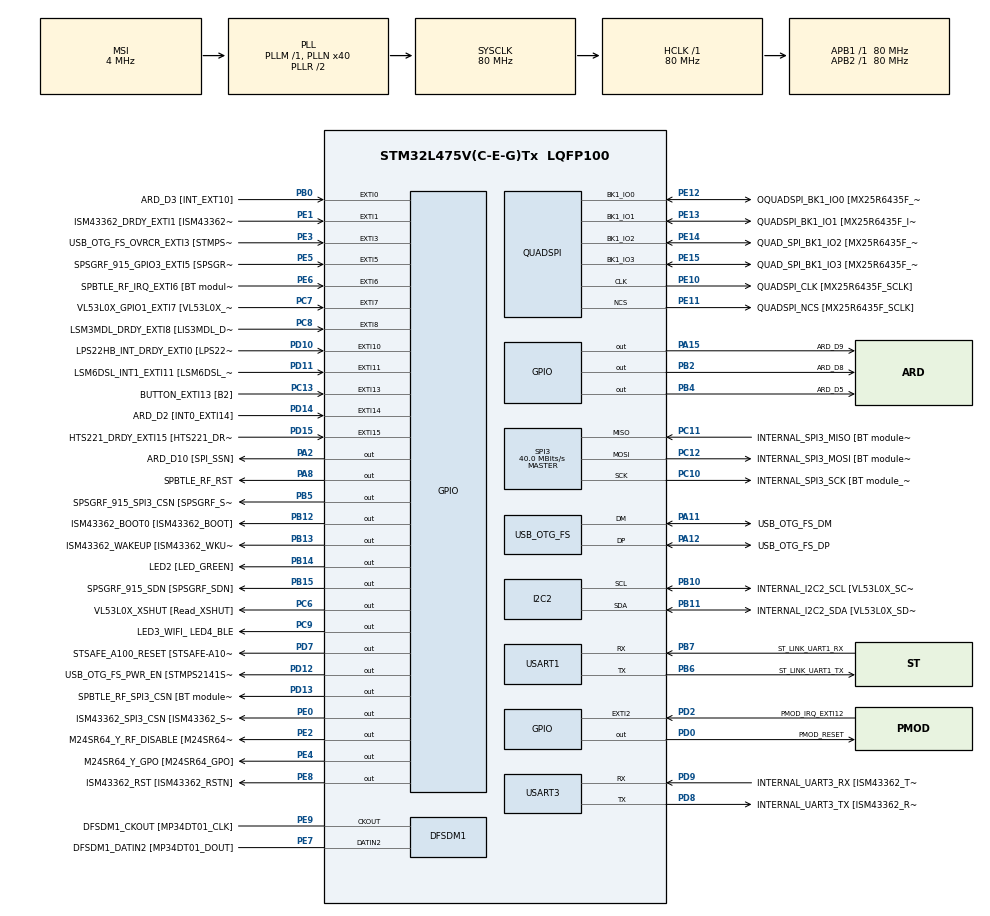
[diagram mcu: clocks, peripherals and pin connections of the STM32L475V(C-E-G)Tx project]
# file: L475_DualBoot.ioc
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Mcu.Family=STM32L4
Mcu.Name=STM32L475V(C-E-G)Tx
Mcu.Package=LQFP100
NVIC.EXTI15_10_IRQn=true\:0\:0\:false\:false\:true\:true
NVIC.EXTI9_5_IRQn=true\:0\:0\:false\:false\:true\:true
NVIC.PriorityGroup=NVIC_PRIORITYGROUP_4
PA0.GPIO_Label=ARD_D1 [UART4_TX]
PA0.Signal=UART4_TX
PA1.GPIO_Label=ARD_D0 [UART4_RX]
PA1.Signal=UART4_RX
PA10.GPIO_Label=USB_OTG_FS_ID
PA10.Signal=USB_OTG_FS_ID
PA11.GPIO_Label=USB_OTG_FS_DM
PA11.Mode=Device_Only
PA11.Signal=USB_OTG_FS_DM
PA12.GPIO_Label=USB_OTG_FS_DP
PA12.Mode=Device_Only
PA12.Signal=USB_OTG_FS_DP
PA13\ (JTMS-SWDIO).GPIO_Label=SYS_JTMS_SWDIO
PA13\ (JTMS-SWDIO).Mode=Serial_Wire
PA13\ (JTMS-SWDIO).Signal=SYS_JTMS-SWDIO
PA14\ (JTCK-SWCLK).GPIO_Label=SYS_JTCK_SWCLK
PA14\ (JTCK-SWCLK).Mode=Serial_Wire
PA14\ (JTCK-SWCLK).Signal=SYS_JTCK-SWCLK
PA15\ (JTDI).GPIO_Label=ARD_D9
PA15\ (JTDI).Signal=GPIO_Output
PA2.GPIO_Label=ARD_D10 [SPI_SSN]
PA2.Signal=GPIO_Output
PA3.GPIO_Label=ARD_D4
PA3.Signal=S_TIM2_CH4
PA4.GPIO_Label=ARD_D7
PA4.Signal=ADCx_IN9
PA5.GPIO_Label=ARD_D13 [SPI1_SCK]
PA5.Signal=SPI1_SCK
PA6.GPIO_Label=ARD_D12 [SPI1_MISO]
PA6.Signal=SPI1_MISO
PA7.GPIO_Label=ARD_D11 [SPI1_MOSI]
PA7.Signal=SPI1_MOSI
PA8.GPIO_Label=SPBTLE_RF_RST
PA8.Signal=GPIO_Output
PA9.GPIO_Label=USB_OTG_FS_VBUS [STMPS2141STR_OUT]
PA9.Signal=USB_OTG_FS_VBUS
PB0.GPIO_Label=ARD_D3 [INT_EXT10]
PB0.Signal=GPXTI0
PB1.GPIO_Label=ARD_D6 [ADC1_IN6]
PB1.Signal=ADCx_IN16
PB10.GPIO_Label=INTERNAL_I2C2_SCL [VL53L0X_SCL]
PB10.Mode=I2C
PB10.Signal=I2C2_SCL
PB11.GPIO_Label=INTERNAL_I2C2_SDA [VL53L0X_SDA]
PB11.Mode=I2C
PB11.Signal=I2C2_SDA
PB12.GPIO_Label=ISM43362_BOOT0 [ISM43362_BOOT]
PB12.Signal=GPIO_Output
PB13.GPIO_Label=ISM43362_WAKEUP [ISM43362_WKUP]
PB13.Signal=GPIO_Output
PB14.GPIO_Label=LED2 [LED_GREEN]
PB14.Signal=GPIO_Output
PB15.GPIO_Label=SPSGRF_915_SDN [SPSGRF_SDN]
PB15.Signal=GPIO_Output
PB2.GPIO_Label=ARD_D8
PB2.Signal=GPIO_Output
PB3\ (JTDO-TRACESWO).GPIO_Label=SYS_JTD0_SWO
PB3\ (JTDO-TRACESWO).Signal=SYS_JTDO-SWO
PB4\ (NJTRST).GPIO_Label=ARD_D5
PB4\ (NJTRST).Signal=GPIO_Output
PB5.GPIO_Label=SPSGRF_915_SPI3_CSN [SPSGRF_SPI_CS]
PB5.Signal=GPIO_Output
PB6.GPIO_Label=ST_LINK_UART1_TX
PB6.Mode=Asynchronous
PB6.Signal=USART1_TX
PB7.GPIO_Label=ST_LINK_UART1_RX
PB7.Mode=Asynchronous
PB7.Signal=USART1_RX
PB8.GPIO_Label=ARD_D15 [I2C1_SCL]
PB8.Signal=I2C1_SCL
PB9.GPIO_Label=ARD_D14 [I2C1_SDA]
PB9.Signal=I2C1_SDA
PC0.GPIO_Label=ARD_A5 [ADC]
PC0.Signal=ADCx_IN1
PC1.GPIO_Label=ARD_A4 [ADC]
PC1.Signal=ADCx_IN2
PC10.GPIO_Label=INTERNAL_SPI3_SCK [BT module_SPI_SCLK]
PC10.Mode=Full_Duplex_Master
PC10.Signal=SPI3_SCK
PC11.GPIO_Label=INTERNAL_SPI3_MISO [BT module_SPI_MISO]
PC11.Mode=Full_Duplex_Master
PC11.Signal=SPI3_MISO
PC12.GPIO_Label=INTERNAL_SPI3_MOSI [BT module_SPI_MOSI]
PC12.Mode=Full_Duplex_Master
PC12.Signal=SPI3_MOSI
PC13.GPIO_Label=BUTTON_EXTI13 [B2]
PC13.GPIO_ModeDefaultEXTI=GPIO_MODE_IT_FALLING
PC13.Signal=GPXTI13
PC14-OSC32_IN\ (PC14).Mode=LSE-External-Oscillator
PC14-OSC32_IN\ (PC14).Signal=RCC_OSC32_IN
PC15-OSC32_OUT\ (PC15).Mode=LSE-External-Oscillator
PC15-OSC32_OUT\ (PC15).Signal=RCC_OSC32_OUT
PC2.GPIO_Label=ARD_A3 [ADC]
PC2.Signal=ADCx_IN3
PC3.GPIO_Label=ARD_A2 [ADC]
PC3.Signal=ADCx_IN4
PC4.GPIO_Label=ARD_A1 [ADC]
PC4.Signal=ADCx_IN13
PC5.GPIO_Label=ARD_A0 [ADC]
PC5.Signal=ADCx_IN14
PC6.GPIO_Label=VL53L0X_XSHUT [Read_XSHUT]
PC6.Signal=GPIO_Output
PC7.GPIO_Label=VL53L0X_GPIO1_EXTI7 [VL53L0X_GPIO1]
PC7.Signal=GPXTI7
PC8.GPIO_Label=LSM3MDL_DRDY_EXTI8 [LIS3MDL_DRDY]
PC8.Signal=GPXTI8
PC9.GPIO_Label=LED3_WIFI_ LED4_BLE
PC9.Signal=GPIO_Output
PD0.GPIO_Label=PMOD_RESET
PD0.Signal=GPIO_Output
PD1.GPIO_Label=PMOD_SPI2_SCK
PD1.Signal=SPI2_SCK
PD10.GPIO_Label=LPS22HB_INT_DRDY_EXTI0 [LPS22HB_INT_DRDY] 
PD10.Signal=GPXTI10
PD11.GPIO_Label=LSM6DSL_INT1_EXTI11 [LSM6DSL_INT1]
PD11.Signal=GPXTI11
PD12.GPIO_Label=USB_OTG_FS_PWR_EN [STMPS2141STR_EN]
PD12.Signal=GPIO_Output
PD13.GPIO_Label=SPBTLE_RF_SPI3_CSN [BT module_SPI_CS]
PD13.Signal=GPIO_Output
PD14.GPIO_Label=ARD_D2 [INT0_EXTI14]
PD14.Signal=GPXTI14
PD15.GPIO_Label=HTS221_DRDY_EXTI15 [HTS221_DRDY]
PD15.Signal=GPXTI15
PD2.GPIO_Label=PMOD_IRQ_EXTI12
PD2.Signal=GPXTI2
PD3.GPIO_Label=PMOD_UART2_CTS
PD3.Signal=USART2_CTS
PD4.GPIO_Label=PMOD_UART2_RTS
PD4.Signal=USART2_RTS
PD5.GPIO_Label=PMOD_UART2_TX
PD5.Signal=USART2_TX
PD6.GPIO_Label=PMOD_UART2_RX
PD6.Signal=USART2_RX
PD7.GPIO_Label=STSAFE_A100_RESET [STSAFE-A100_RESET]
PD7.Signal=GPIO_Output
PD8.GPIO_Label=INTERNAL_UART3_TX [ISM43362_RX]
PD8.Mode=Asynchronous
PD8.Signal=USART3_TX
PD9.GPIO_Label=INTERNAL_UART3_RX [ISM43362_TX]
PD9.Mode=Asynchronous
PD9.Signal=USART3_RX
PE0.GPIO_Label=ISM43362_SPI3_CSN [ISM43362_SSN]
PE0.Signal=GPIO_Output
PE1.GPIO_Label=ISM43362_DRDY_EXTI1 [ISM43362_DATARDY]
PE1.Signal=GPXTI1
PE10.GPIO_Label=QUADSPI_CLK [MX25R6435F_SCLK]
PE10.Mode=Single Bank
PE10.Signal=QUADSPI_CLK
PE11.GPIO_Label=QUADSPI_NCS [MX25R6435F_SCLK]
PE11.Mode=Single Bank
PE11.Signal=QUADSPI_NCS
PE12.GPIO_Label=OQUADSPI_BK1_IO0 [MX25R6435F_IO0]
PE12.Mode=Single Bank
PE12.Signal=QUADSPI_BK1_IO0
PE13.GPIO_Label=QUADSPI_BK1_IO1 [MX25R6435F_IO1]
PE13.Mode=Single Bank
PE13.Signal=QUADSPI_BK1_IO1
PE14.GPIO_Label=QUAD_SPI_BK1_IO2 [MX25R6435F_IO2]
PE14.Mode=Single Bank
PE14.Signal=QUADSPI_BK1_IO2
PE15.GPIO_Label=QUAD_SPI_BK1_IO3 [MX25R6435F_IO3]
PE15.Mode=Single Bank
PE15.Signal=QUADSPI_BK1_IO3
PE2.GPIO_Label=M24SR64_Y_RF_DISABLE [M24SR64_RFDIS]
PE2.Signal=GPIO_Output
PE3.GPIO_Label=USB_OTG_FS_OVRCR_EXTI3 [STMPS2141STR_FAULT]
PE3.Signal=GPXTI3
PE4.GPIO_Label=M24SR64_Y_GPO [M24SR64_GPO]
PE4.Signal=GPIO_Output
PE5.GPIO_Label=SPSGRF_915_GPIO3_EXTI5 [SPSGRF_GPIO_3]
PE5.Signal=GPXTI5
PE6.GPIO_Label=SPBTLE_RF_IRQ_EXTI6 [BT module_SPI_IRQ]
PE6.Signal=GPXTI6
PE7.GPIO_Label=DFSDM1_DATIN2 [MP34DT01_DOUT]
PE7.Signal=S_DATAIN2DFSDM1
PE8.GPIO_Label=ISM43362_RST [ISM43362_RSTN]
PE8.Signal=GPIO_Output
PE9.GPIO_Label=DFSDM1_CKOUT [MP34DT01_CLK]
PE9.Signal=S_CKOUTDFSDM1
ProjectManager.HeapSize=0x200
ProjectManager.StackSize=0x400
ProjectManager.TargetToolchain=SW4STM32
RCC.ADCFreq_Value=48000000
RCC.AHBFreq_Value=80000000
RCC.APB1Freq_Value=80000000
RCC.APB1TimFreq_Value=80000000
RCC.APB2Freq_Value=80000000
RCC.APB2TimFreq_Value=80000000
RCC.CortexFreq_Value=80000000
RCC.HCLKFreq_Value=80000000
RCC.HSE_VALUE=8000000
RCC.HSI_VALUE=16000000
RCC.MSI_VALUE=4000000
RCC.PLLN=40
RCC.PLLSAI1N=24
RCC.SYSCLKFreq_VALUE=80000000
RCC.SYSCLKSource=RCC_SYSCLKSOURCE_PLLCLK
RCC.USBFreq_Value=48000000
RCC.VCOOutputFreq_Value=160000000
SH.ADCx_IN1.0=ADC1_IN1
SH.ADCx_IN13.0=ADC1_IN13
SH.ADCx_IN14.0=ADC1_IN14
SH.ADCx_IN16.0=ADC1_IN16
SH.ADCx_IN2.0=ADC1_IN2
SH.ADCx_IN3.0=ADC1_IN3
SH.ADCx_IN4.0=ADC1_IN4
SH.ADCx_IN9.0=ADC1_IN9
SH.S_CKOUTDFSDM1.0=DFSDM1_CKOUT,CKOUT
SH.S_CKOUTDFSDM1.1=DFSDM1_CKOUT,PDM_SPI_Input_from_ch12_and_Internal_Clock
SH.S_DATAIN2DFSDM1.0=DFSDM1_DATIN2,PDM_SPI_Input_from_ch12_and_Internal_Clock
SH.S_TIM2_CH4.0=TIM2_CH4
SPI3.CalculateBaudRate=40.0 MBits/s
SPI3.Direction=SPI_DIRECTION_2LINES
SPI3.Mode=SPI_MODE_MASTER
SPI3.VirtualType=VM_MASTER
USART1.VirtualMode-Asynchronous=VM_ASYNC
USART1.WordLength=WORDLENGTH_8B
USART3.VirtualMode-Asynchronous=VM_ASYNC
USB_OTG_FS.VirtualMode=Device_Only
board=B-L475E-IOT01A

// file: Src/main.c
/**
 ******************************************************************************
 * @file           : main.c
 * @brief          : Main program body
 ******************************************************************************
 ** This notice applies to any and all portions of this file
 * that are not between comment pairs USER CODE BEGIN and
 * USER CODE END. Other portions of this file, whether
 * inserted by the user or by software development tools
 * are owned by their respective copyright owners.
 *
 * COPYRIGHT(c) 2018 STMicroelectronics
 *
 * Redistribution and use in source and binary forms, with or without modification,
 * are permitted provided that the following conditions are met:
 *   1. Redistributions of source code must retain the above copyright notice,
 *      this list of conditions and the following disclaimer.
 *   2. Redistributions in binary form must reproduce the above copyright notice,
 *      this list of conditions and the following disclaimer in the documentation
 *      and/or other materials provided with the distribution.
 *   3. Neither the name of STMicroelectronics nor the names of its contributors
 *      may be used to endorse or promote products derived from this software
 *      without specific prior written permission.
 *
 * THIS SOFTWARE IS PROVIDED BY THE COPYRIGHT HOLDERS AND CONTRIBUTORS "AS IS"
 * AND ANY EXPRESS OR IMPLIED WARRANTIES, INCLUDING, BUT NOT LIMITED TO, THE
 * IMPLIED WARRANTIES OF MERCHANTABILITY AND FITNESS FOR A PARTICULAR PURPOSE ARE
 * DISCLAIMED. IN NO EVENT SHALL THE COPYRIGHT HOLDER OR CONTRIBUTORS BE LIABLE
 * FOR ANY DIRECT, INDIRECT, INCIDENTAL, SPECIAL, EXEMPLARY, OR CONSEQUENTIAL
 * DAMAGES (INCLUDING, BUT NOT LIMITED TO, PROCUREMENT OF SUBSTITUTE GOODS OR
 * SERVICES; LOSS OF USE, DATA, OR PROFITS; OR BUSINESS INTERRUPTION) HOWEVER
 * CAUSED AND ON ANY THEORY OF LIABILITY, WHETHER IN CONTRACT, STRICT LIABILITY,
 * OR TORT (INCLUDING NEGLIGENCE OR OTHERWISE) ARISING IN ANY WAY OUT OF THE USE
 * OF THIS SOFTWARE, EVEN IF ADVISED OF THE POSSIBILITY OF SUCH DAMAGE.
 *
 ******************************************************************************
 */
#include "main.h"
#include "stm32l4xx_hal.h"
#include "dfsdm.h"
#include "i2c.h"
#include "quadspi.h"
#include "spi.h"
#include "usart.h"
#include "usb_otg.h"
#include "gpio.h"

/* USER CODE BEGIN PV */

/* Private typedef -----------------------------------------------------------*/
/* Private define ------------------------------------------------------------*/
#ifdef FLASH_BANK1
#define MESSAGE1    "BANK 1"
#else
#define MESSAGE1    "BANK 2"
#endif
/* Private macro -------------------------------------------------------------*/
/* Private variables ---------------------------------------------------------*/
FLASH_OBProgramInitTypeDef OBInit;

/* USER CODE END PV */

void SystemClock_Config(void);

/* USER CODE BEGIN PFP */
/* Private function prototypes -----------------------------------------------*/

/* USER CODE END PFP */

int main(void)
{

	/* MCU Configuration----------------------------------------------------------*/

	/* Reset of all peripherals, Initializes the Flash interface and the Systick. */
	HAL_Init();

	/* Configure the system clock */
	SystemClock_Config();

	/* Initialize all configured peripherals */
	MX_GPIO_Init();
	MX_DFSDM1_Init();
	MX_I2C2_Init();
	MX_QUADSPI_Init();
	MX_SPI3_Init();
	MX_USART1_UART_Init();
	MX_USART3_UART_Init();
	MX_USB_OTG_FS_PCD_Init();
	/* USER CODE BEGIN 2 */

	HAL_UART_Transmit(&huart1, (uint8_t *)MESSAGE1, sizeof(MESSAGE1), 1000);

	/* USER CODE END 2 */

	/* Infinite loop */
	while (1)
	{

		/* USER CODE BEGIN 3 */
		if (HAL_GPIO_ReadPin(BUTTON_EXTI13_GPIO_Port, BUTTON_EXTI13_Pin) == GPIO_PIN_RESET)
		{
			while (HAL_GPIO_ReadPin(BUTTON_EXTI13_GPIO_Port, BUTTON_EXTI13_Pin) == GPIO_PIN_RESET)
				;

			/* Set BFB2 bit to enable boot from Flash Bank2 */
			/* Allow Access to Flash control registers and user Flash */
			HAL_FLASH_Unlock();

			/* Clear OPTVERR bit set on virgin samples */
			__HAL_FLASH_CLEAR_FLAG(FLASH_FLAG_OPTVERR);

			/* Allow Access to option bytes sector */
			HAL_FLASH_OB_Unlock();

			/* Get the Dual boot configuration status */
			HAL_FLASHEx_OBGetConfig(&OBInit);

			/* Enable/Disable dual boot feature */
			OBInit.OptionType = OPTIONBYTE_USER;
			OBInit.USERType = OB_USER_BFB2;

			if (((OBInit.USERConfig) & (OB_BFB2_ENABLE)) == OB_BFB2_ENABLE)
			{
				OBInit.USERConfig = OB_BFB2_DISABLE;
			}
			else
			{
				OBInit.USERConfig = OB_BFB2_ENABLE;
			}

			if (HAL_FLASHEx_OBProgram(&OBInit) != HAL_OK)
			{
				/*
				 Error occurred while setting option bytes configuration.
				 User can add here some code to deal with this error.
				 To know the code error, user can call function 'HAL_FLASH_GetError()'
				 */
				/* Infinite loop */
				while (1)
				{
					HAL_GPIO_TogglePin(LED2_GPIO_Port, LED2_Pin);
					HAL_GPIO_TogglePin(LED3_WIFI__LED4_BLE_GPIO_Port, LED3_WIFI__LED4_BLE_Pin);
					HAL_Delay(1000);
				}
			}

			/* Start the Option Bytes programming process */
			if (HAL_FLASH_OB_Launch() != HAL_OK)
			{
				/*
				 Error occurred while reloading option bytes configuration.
				 User can add here some code to deal with this error.
				 To know the code error, user can call function 'HAL_FLASH_GetError()'
				 */
				/* Infinite loop */
				while (1)
				{
					HAL_GPIO_TogglePin(LED2_GPIO_Port, LED2_Pin);
					HAL_GPIO_TogglePin(LED3_WIFI__LED4_BLE_GPIO_Port, LED3_WIFI__LED4_BLE_Pin);
					HAL_Delay(1000);
				}
			}
		}
		else
		{
#ifdef FLASH_BANK1
			/* Toggle LED3 */
			HAL_GPIO_TogglePin(LED2_GPIO_Port, LED2_Pin);
#else
			/* Toggle LED3 */
			HAL_GPIO_TogglePin(LED3_WIFI__LED4_BLE_GPIO_Port, LED3_WIFI__LED4_BLE_Pin);
#endif

			/* Insert 50 ms delay */
			HAL_Delay(50);
		}

	}
	/* USER CODE END 3 */

}

void SystemClock_Config(void)
{

	RCC_OscInitTypeDef RCC_OscInitStruct;
	RCC_ClkInitTypeDef RCC_ClkInitStruct;
	RCC_PeriphCLKInitTypeDef PeriphClkInit;

	/**Configure LSE Drive Capability
	 */
	__HAL_RCC_LSEDRIVE_CONFIG(RCC_LSEDRIVE_LOW);

	/**Initializes the CPU, AHB and APB busses clocks
	 */
	RCC_OscInitStruct.OscillatorType = RCC_OSCILLATORTYPE_LSE | RCC_OSCILLATORTYPE_MSI;
	RCC_OscInitStruct.LSEState = RCC_LSE_ON;
	RCC_OscInitStruct.MSIState = RCC_MSI_ON;
	RCC_OscInitStruct.MSICalibrationValue = 0;
	RCC_OscInitStruct.MSIClockRange = RCC_MSIRANGE_6;
	RCC_OscInitStruct.PLL.PLLState = RCC_PLL_ON;
	RCC_OscInitStruct.PLL.PLLSource = RCC_PLLSOURCE_MSI;
	RCC_OscInitStruct.PLL.PLLM = 1;
	RCC_OscInitStruct.PLL.PLLN = 40;
	RCC_OscInitStruct.PLL.PLLP = RCC_PLLP_DIV7;
	RCC_OscInitStruct.PLL.PLLQ = RCC_PLLQ_DIV2;
	RCC_OscInitStruct.PLL.PLLR = RCC_PLLR_DIV2;
	if (HAL_RCC_OscConfig(&RCC_OscInitStruct) != HAL_OK)
	{
		_Error_Handler(__FILE__, __LINE__);
	}

	/**Initializes the CPU, AHB and APB busses clocks
	 */
	RCC_ClkInitStruct.ClockType = RCC_CLOCKTYPE_HCLK | RCC_CLOCKTYPE_SYSCLK | RCC_CLOCKTYPE_PCLK1 | RCC_CLOCKTYPE_PCLK2;
	RCC_ClkInitStruct.SYSCLKSource = RCC_SYSCLKSOURCE_PLLCLK;
	RCC_ClkInitStruct.AHBCLKDivider = RCC_SYSCLK_DIV1;
	RCC_ClkInitStruct.APB1CLKDivider = RCC_HCLK_DIV1;
	RCC_ClkInitStruct.APB2CLKDivider = RCC_HCLK_DIV1;

	if (HAL_RCC_ClockConfig(&RCC_ClkInitStruct, FLASH_LATENCY_4) != HAL_OK)
	{
		_Error_Handler(__FILE__, __LINE__);
	}

	PeriphClkInit.PeriphClockSelection = RCC_PERIPHCLK_USART1 | RCC_PERIPHCLK_USART3 | RCC_PERIPHCLK_I2C2 | RCC_PERIPHCLK_DFSDM1 | RCC_PERIPHCLK_USB;
	PeriphClkInit.Usart1ClockSelection = RCC_USART1CLKSOURCE_PCLK2;
	PeriphClkInit.Usart3ClockSelection = RCC_USART3CLKSOURCE_PCLK1;
	PeriphClkInit.I2c2ClockSelection = RCC_I2C2CLKSOURCE_PCLK1;
	PeriphClkInit.Dfsdm1ClockSelection = RCC_DFSDM1CLKSOURCE_PCLK;
	PeriphClkInit.UsbClockSelection = RCC_USBCLKSOURCE_PLLSAI1;
	PeriphClkInit.PLLSAI1.PLLSAI1Source = RCC_PLLSOURCE_MSI;
	PeriphClkInit.PLLSAI1.PLLSAI1M = 1;
	PeriphClkInit.PLLSAI1.PLLSAI1N = 24;
	PeriphClkInit.PLLSAI1.PLLSAI1P = RCC_PLLP_DIV7;
	PeriphClkInit.PLLSAI1.PLLSAI1Q = RCC_PLLQ_DIV2;
	PeriphClkInit.PLLSAI1.PLLSAI1R = RCC_PLLR_DIV2;
	PeriphClkInit.PLLSAI1.PLLSAI1ClockOut = RCC_PLLSAI1_48M2CLK;
	if (HAL_RCCEx_PeriphCLKConfig(&PeriphClkInit) != HAL_OK)
	{
		_Error_Handler(__FILE__, __LINE__);
	}

	/**Configure the main internal regulator output voltage
	 */
	if (HAL_PWREx_ControlVoltageScaling(PWR_REGULATOR_VOLTAGE_SCALE1) != HAL_OK)
	{
		_Error_Handler(__FILE__, __LINE__);
	}

	/**Configure the Systick interrupt time
	 */
	HAL_SYSTICK_Config(HAL_RCC_GetHCLKFreq() / 1000);

	/**Configure the Systick
	 */
	HAL_SYSTICK_CLKSourceConfig(SYSTICK_CLKSOURCE_HCLK);

	/**Enable MSI Auto calibration
	 */
	HAL_RCCEx_EnableMSIPLLMode();

	/* SysTick_IRQn interrupt configuration */
	HAL_NVIC_SetPriority(SysTick_IRQn, 0, 0);
}

void _Error_Handler(char *file, int line)
{
	while (1)
	{
	}
}

/************************ (C) COPYRIGHT STMicroelectronics *****END OF FILE****/
